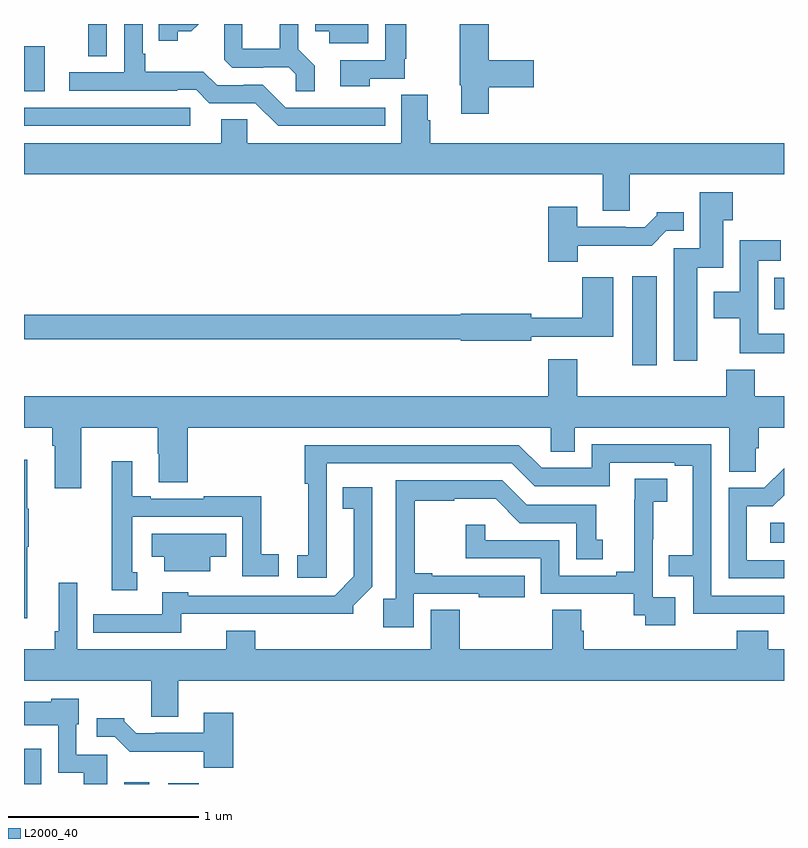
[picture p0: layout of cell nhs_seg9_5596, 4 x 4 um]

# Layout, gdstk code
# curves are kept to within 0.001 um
import gdstk
lib = gdstk.Library(unit=1e-6, precision=1e-09)
def R(c, l, rs):  # rectangles x0, y0, x1, y1
    for r in rs: c.add(gdstk.rectangle(r[:2], r[2:], *l))
def P(c, l, *ps):  # polygons
    for p in ps: c.add(gdstk.Polygon(p, *l))
L2000_40 = (2000, 40)

nhs_seg9_5596 = lib.new_cell('nhs_seg9_5596')
R(nhs_seg9_5596, L2000_40, [(435,1238.5,435.09,1238.685), (435.527,1238.5,435.658,1238.509), (435.758,1238.5,435.92,1238.503), (438.927,1239.77,439,1239.874), (438.2,1240.704,438.331,1241.173), (438.949,1241,439,1241.164), (435,1241.964,435.874,1242.06), (435,1242.145,435.109,1242.384), (435.337,1242.331,435.435,1242.5)])
P(nhs_seg9_5596, L2000_40, [(436.821,1242.213),(437.003,1242.213),(437.003,1242.316),(437.011,1242.316),(437.011,1242.5),(436.902,1242.5),(436.902,1242.309),(436.665,1242.309),(436.665,1242.173),(436.821,1242.173)],
  [(435.81,1242.461),(435.88,1242.461),(435.919,1242.5),(435.709,1242.5),(435.709,1242.411),(435.81,1242.411)],
  [(436.813,1242.5),(436.532,1242.5),(436.532,1242.461),(436.607,1242.461),(436.607,1242.398),(436.813,1242.398)],
  [(436.9,1242.06),(436.377,1242.06),(436.257,1242.18),(436.156,1242.18),(436.156,1242.177),(436.017,1242.177),(435.944,1242.25),(435.637,1242.25),(435.637,1242.343),(435.624,1242.343),(435.624,1242.5),(435.528,1242.5),(435.528,1242.246),(435.237,1242.246),(435.237,1242.15),(435.806,1242.15),(435.806,1242.153),(435.906,1242.153),(435.975,1242.084),(436.218,1242.084),(436.338,1241.964),(436.9,1241.964)],
  [(437.447,1242.166),(437.683,1242.166),(437.683,1242.308),(437.447,1242.308),(437.447,1242.5),(437.293,1242.5),(437.293,1242.177),(437.3,1242.177),(437.3,1242.027),(437.447,1242.027)],
  [(436.529,1242.281),(436.443,1242.367),(436.443,1242.5),(436.346,1242.5),(436.346,1242.37),(436.148,1242.37),(436.148,1242.5),(436.054,1242.5),(436.054,1242.311),(436.095,1242.27),(436.26,1242.27),(436.26,1242.273),(436.394,1242.273),(436.431,1242.236),(436.431,1242.145),(436.529,1242.145)],
  [(438.187,1241.708),(439,1241.708),(439,1241.872),(437.138,1241.872),(437.138,1241.994),(437.125,1241.994),(437.125,1242.128),(436.985,1242.128),(436.985,1241.872),(436.176,1241.872),(436.176,1241.999),(436.037,1241.999),(436.037,1241.872),(435,1241.872),(435,1241.708),(438.047,1241.708),(438.047,1241.518),(438.187,1241.518)],
  [(438.544,1241.216),(438.679,1241.216),(438.679,1241.467),(438.731,1241.467),(438.731,1241.614),(438.557,1241.614),(438.557,1241.319),(438.419,1241.319),(438.419,1240.728),(438.544,1240.728)],
  [(437.914,1241.334),(438.303,1241.334),(438.381,1241.412),(438.472,1241.412),(438.472,1241.509),(438.33,1241.509),(438.33,1241.494),(438.266,1241.43),(438.167,1241.43),(438.167,1241.433),(437.911,1241.433),(437.911,1241.539),(437.759,1241.539),(437.759,1241.249),(437.914,1241.249)],
  [(439,1240.87),(438.864,1240.87),(438.864,1241.253),(438.982,1241.253),(438.982,1241.362),(438.768,1241.362),(438.768,1241.092),(438.629,1241.092),(438.629,1240.952),(438.766,1240.952),(438.766,1240.766),(439,1240.766)],
  [(437.67,1240.854),(438.1,1240.854),(438.1,1241.167),(437.938,1241.167),(437.938,1240.955),(437.67,1240.955),(437.67,1240.976),(437.298,1240.976),(437.298,1240.97),(435,1240.97),(435,1240.842),(437.298,1240.842),(437.298,1240.834),(437.67,1240.834)],
  [(435.301,1240.376),(435.703,1240.376),(435.703,1240.238),(435.71,1240.238),(435.71,1240.087),(435.863,1240.087),(435.863,1240.376),(437.772,1240.376),(437.772,1240.249),(437.899,1240.249),(437.899,1240.376),(438.713,1240.376),(438.713,1240.144),(438.852,1240.144),(438.852,1240.267),(438.866,1240.267),(438.866,1240.376),(439,1240.376),(439,1240.54),(438.847,1240.54),(438.847,1240.681),(438.695,1240.681),(438.695,1240.54),(437.911,1240.54),(437.911,1240.735),(437.759,1240.735),(437.759,1240.54),(435,1240.54),(435,1240.376),(435.149,1240.376),(435.149,1240.28),(435.161,1240.28),(435.161,1240.056),(435.301,1240.056)],
  [(439,1239.492),(438.618,1239.492),(438.618,1240.287),(437.988,1240.287),(437.988,1240.164),(437.724,1240.164),(437.604,1240.284),(436.477,1240.284),(436.477,1240.081),(436.495,1240.081),(436.495,1239.705),(436.437,1239.705),(436.437,1239.585),(436.594,1239.585),(436.593,1240.188),(437.568,1240.188),(437.688,1240.068),(438.084,1240.068),(438.084,1240.191),(438.425,1240.191),(438.425,1240.176),(438.521,1240.176),(438.521,1239.703),(438.394,1239.703),(438.394,1239.594),(438.522,1239.594),(438.522,1239.396),(439,1239.396)],
  [(435.016,1239.749),(435.024,1239.749),(435.024,1239.949),(435.016,1239.949),(435.016,1240.207),(435,1240.207),(435,1239.372),(435.016,1239.372)],
  [(435.595,1239.615),(435.57,1239.615),(435.57,1239.906),(436.149,1239.906),(436.149,1239.594),(436.342,1239.594),(436.342,1239.71),(436.248,1239.71),(436.248,1240.015),(435.946,1240.015),(435.946,1240.002),(435.667,1240.002),(435.667,1240.015),(435.571,1240.015),(435.571,1240.198),(435.461,1240.198),(435.461,1239.953),(435.462,1239.953),(435.462,1239.521),(435.595,1239.521)],
  [(439,1239.678),(438.804,1239.678),(438.804,1239.963),(438.942,1239.963),(439,1240.021),(439,1240.162),(438.897,1240.059),(438.708,1240.059),(438.708,1239.582),(439,1239.582)],
  [(438.427,1239.483),(438.309,1239.483),(438.309,1239.787),(438.311,1239.787),(438.311,1239.985),(438.385,1239.985),(438.385,1240.106),(438.214,1240.106),(438.214,1239.995),(438.212,1239.995),(438.212,1239.617),(438.116,1239.617),(438.116,1239.597),(437.817,1239.597),(437.817,1239.783),(437.427,1239.783),(437.427,1239.865),(437.326,1239.865),(437.326,1239.687),(437.721,1239.687),(437.721,1239.501),(438.208,1239.501),(438.208,1239.387),(438.271,1239.387),(438.271,1239.336),(438.427,1239.336)],
  [(437.052,1239.501),(437.393,1239.501),(437.393,1239.482),(437.636,1239.482),(437.636,1239.597),(437.149,1239.597),(437.149,1239.61),(437.057,1239.61),(437.057,1239.99),(437.264,1239.99),(437.264,1240.001),(437.482,1240.001),(437.61,1239.873),(437.906,1239.873),(437.906,1239.682),(438.046,1239.682),(438.046,1239.786),(438.013,1239.786),(438.013,1239.969),(437.646,1239.969),(437.517,1240.098),(436.956,1240.098),(436.956,1239.475),(436.891,1239.475),(436.891,1239.324),(437.052,1239.324)],
  [(435.828,1239.396),(436.734,1239.395),(436.734,1239.439),(436.833,1239.538),(436.833,1240.063),(436.678,1240.063),(436.678,1239.95),(436.736,1239.95),(436.736,1239.593),(436.635,1239.492),(435.864,1239.492),(435.864,1239.508),(435.728,1239.508),(435.728,1239.393),(435.364,1239.393),(435.364,1239.297),(435.828,1239.297)],
  [(435.979,1239.695),(436.064,1239.695),(436.064,1239.817),(435.672,1239.817),(435.672,1239.695),(435.737,1239.695),(435.737,1239.62),(435.979,1239.62)],
  [(435.811,1239.044),(439,1239.044),(439,1239.208),(438.917,1239.208),(438.917,1239.307),(438.752,1239.307),(438.752,1239.208),(437.945,1239.208),(437.945,1239.306),(437.932,1239.306),(437.932,1239.416),(437.78,1239.416),(437.78,1239.208),(437.294,1239.208),(437.294,1239.416),(437.141,1239.416),(437.141,1239.208),(436.217,1239.208),(436.217,1239.307),(436.064,1239.307),(436.064,1239.208),(435.279,1239.208),(435.279,1239.559),(435.182,1239.559),(435.182,1239.304),(435.163,1239.304),(435.163,1239.208),(435,1239.208),(435,1239.044),(435.671,1239.044),(435.671,1238.854),(435.811,1238.854)],
  [(435.439,1238.655),(435.276,1238.655),(435.276,1238.814),(435.289,1238.814),(435.289,1238.95),(435.144,1238.95),(435.144,1238.932),(435,1238.932),(435,1238.81),(435.18,1238.81),(435.18,1238.558),(435.314,1238.558),(435.314,1238.5),(435.439,1238.5)],
  [(436.1,1238.875),(435.947,1238.875),(435.947,1238.769),(435.691,1238.769),(435.691,1238.766),(435.592,1238.766),(435.528,1238.83),(435.528,1238.845),(435.384,1238.845),(435.384,1238.748),(435.477,1238.748),(435.556,1238.67),(435.945,1238.67),(435.945,1238.585),(436.1,1238.585)])

lib.write_gds('nhs_seg9_5596.gds')
